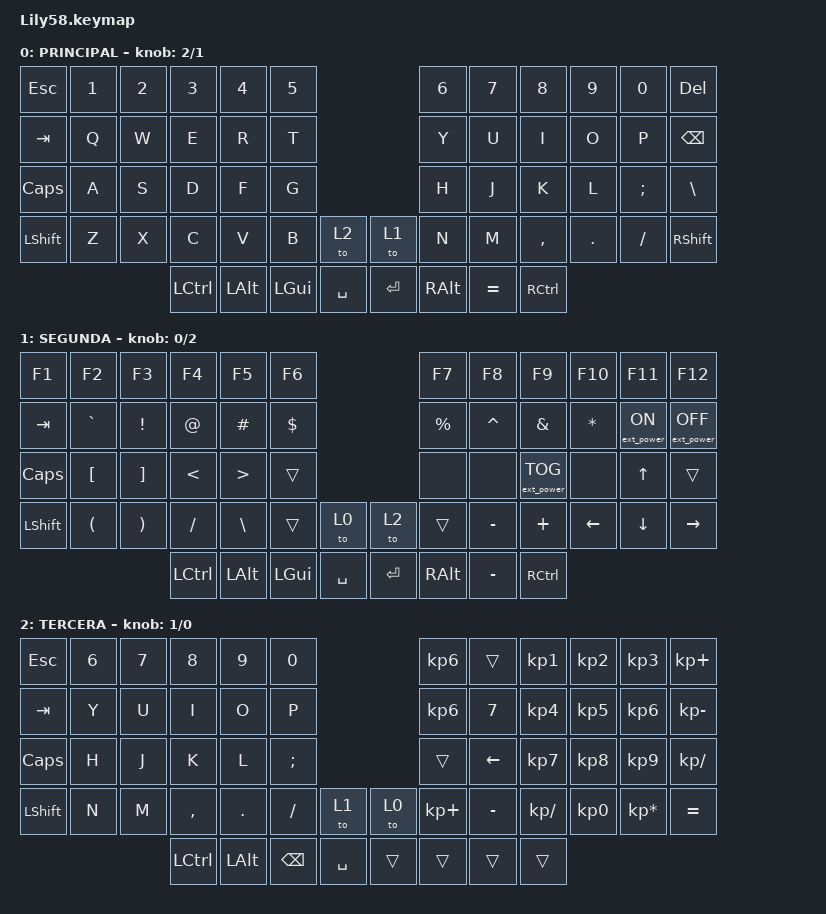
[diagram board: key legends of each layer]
/*
 * Copyright (c) 2020 The ZMK Contributors
 *
 * SPDX-License-Identifier: MIT
 */

#include <behaviors.dtsi>
#include <dt-bindings/zmk/keys.h>
#include <dt-bindings/zmk/bt.h>
#include <dt-bindings/zmk/ext_power.h>
#include <dt-bindings/zmk/rgb.h>
/ {
        // Activate ADJUST layer by pressing raise and lower
    conditional_layers {
        compatible = "zmk,conditional-layers";

        adjust_layer {
            if-layers = <1 2>;
            then-layer = <3>;
        };
    };
    keymap {
        compatible = "zmk,keymap";        
        default_layer {
            display-name = "PRINCIPAL";
// ------------------------------------------------------------------------------------------------------------
// |  ESC  |  1  |  2  |  3   |  4   |  5   |                   |  6  |  7  |  8   |  9   |   0   | BSPC  |
// |  TAB  |  Q  |  W  |  E   |  R   |  T   |                   |  Y  |  U  |  I   |  O   |   P   | DEL   |
// |  CAPS |  A  |  S  |  D   |  F   |  G   |                   |  H  |  J  |  K   |  L   |   ;   |   \   |
// | SHIFT |  Z  |  X  |  C   |  V   |  B   |   PREV |  |  NEXT |  N  |  M  |  ,   |  .   |   /   | SHIFT |
//                     | CTRL | ALT  | GUI  |  SPACE |  | ENTER | ALT |  =  | CTRL |
            bindings = <
&kp ESC    &kp N1    &kp N2    &kp N3    &kp N4   &kp N5                         &kp N6    &kp N7      &kp N8     &kp N9     &kp N0      &kp DEL
&kp TAB    &kp Q     &kp W     &kp E     &kp R    &kp T                          &kp Y     &kp U       &kp I      &kp O      &kp P       &kp BSPC
&kp CAPS   &kp A     &kp S     &kp D     &kp F    &kp G                          &kp H     &kp J       &kp K      &kp L      &kp SEMI    &kp BSLH
&kp LSHFT  &kp Z     &kp X     &kp C     &kp V    &kp B     &to 2      &to 1     &kp N     &kp M       &kp COMMA  &kp DOT    &kp FSLH    &kp RSHFT
                               &kp LCTRL &kp LALT &kp LGUI  &kp SPACE  &kp RET   &kp RALT  &kp EQUAL   &kp RCTRL
            >;
            
            sensor-bindings = <&rot_kp 2 1>;
        };

        lower_layer {
            display-name= "SEGUNDA";
// ------------------------------------------------------------------------------------------------------------
// |  F1   |  F2 |  F3 |  F4  |  F5  |  F6  |                   |  F7  |  F8   |  F9   |  F10 |  F11  |  F12  |
// |  TAB  |  `  |  !  |  @   |  #   |  $   |                   |  %   |  ^    |  &    |  *   |   (   |   )   |
// |  CAPS |  [  |  ]  |  <   |  >   |  %   |                   |  ^   |  &    |  *    |      |   ^   |       |
// | SHIFT |  (  |  )  |  /   |  \   |      |   PREV |  |  NEXT |      |  _    |  +    |   <- |   v   |  ->   |
//                     | CTRL | ALT  | GUI  |  SPACE |  | ENTER | ALT  |  _    | CTRL  |
            bindings = <
&kp F1     &kp F2    &kp F3   &kp F4    &kp F5    &kp F6                        &kp F7    &kp F8    &kp F9            &kp F10   &kp F11          &kp F12
&kp TAB    &kp GRAVE &kp EXCL &kp AT    &kp HASH  &kp DOLLAR                    &kp PRCNT &kp CARET &kp AMPS          &kp ASTRK &ext_power EP_ON &ext_power EP_OFF
&kp CAPS   &kp LBKT  &kp RBKT &kp LT    &kp GT    &trans                        &none     &none     &ext_power EP_TOG &none     &kp UP           &trans
&kp LSHFT  &kp LPAR  &kp RPAR &kp FSLH  &kp BSLH  &trans     &to 0     &to 2    &trans    &kp MINUS &kp PLUS          &kp LEFT  &kp DOWN         &kp RIGHT
                              &kp LCTRL &kp LALT  &kp LGUI   &kp SPACE &kp RET  &kp RALT  &kp MINUS &kp RCTRL
            >;

            sensor-bindings = <&rot_kp 0 2>;
        };

        raise_layer {
            display-name="TERCERA";
// ------------------------------------------------------------------------------------------------------------
// |  ESC  |  6  |  7  |  8   |  9   |  0   |                   |      |       |   1   |  2   |   3   |   +   |
// |  TAB  |  Y  |  U  |  I   |  O   |  P   |                   |  6   |   7   |   4   |  5   |   6   |   -   |
// |  CAPS |  H  |  J  |  K   |  L   |  ;   |                   |      |   <-  |   7   |  8   |   9   |   /   |
// | SHIFT |  N  |  M  |  ,   |  .   |  /   |   PREV |  |  NEXT |  +   |   -   |   =   |  0   |   *   |   =   |
//                     | CTRL | ALT  | BSPC |  SPACE |  |       |      |       |       |
            bindings = <
&kp ESC    &kp N6    &kp N7    &kp N8     &kp N9     &kp N0                       &kp KP_N6   &trans    &kp KP_N1    &kp KP_N2 &kp KP_N3       &kp KP_PLUS    
&kp TAB    &kp Y     &kp U     &kp I      &kp O      &kp P                        &kp KP_N6   &kp N7    &kp KP_N4    &kp KP_N5 &kp KP_N6       &kp KP_MINUS
&kp CAPS   &kp H     &kp J     &kp K      &kp L      &kp SEMI                       &trans      &kp LEFT  &kp KP_N7    &kp KP_N8 &kp KP_N9     &kp KP_SLASH
&kp LSHFT  &kp N     &kp M     &kp COMMA  &kp DOT    &kp FSLH  &to 1     &to 0    &kp KP_PLUS &kp MINUS &kp KP_SLASH &kp KP_N0 &kp KP_MULTIPLY &kp EQUAL
                               &kp LCTRL  &kp LALT   &kp BSPC  &kp SPACE &trans    &trans      &trans    &trans
            >;

            sensor-bindings = <&rot_kp 1 0>;
        };
    };
};
